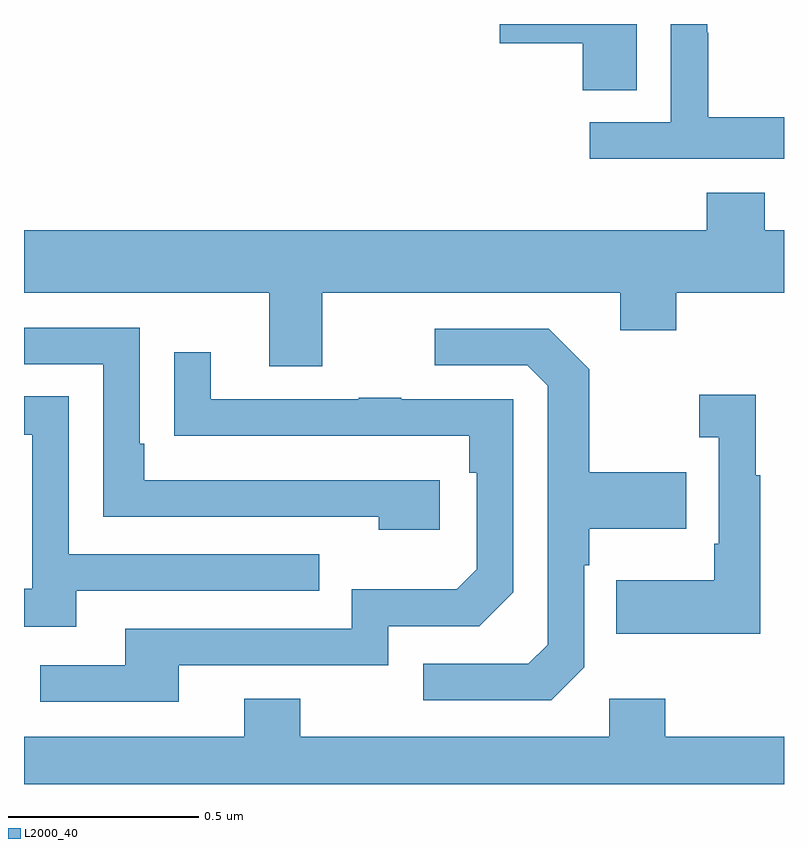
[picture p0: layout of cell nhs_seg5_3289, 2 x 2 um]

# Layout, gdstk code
import gdstk
lib = gdstk.Library(unit=1e-6, precision=1e-09)
def P(c, l, *ps):  # polygons
    for p in ps: c.add(gdstk.Polygon(p, *l))
L2000_40 = (2000, 40)

nhs_seg5_3289 = lib.new_cell('nhs_seg5_3289')
P(nhs_seg5_3289, L2000_40, [(157,858.553),(156.801,858.553),(156.801,858.776),(156.798,858.776),(156.798,858.799),(156.702,858.799),(156.702,858.54),(156.489,858.54),(156.489,858.444),(157,858.444)],
  [(156.613,858.799),(156.252,858.799),(156.252,858.749),(156.47,858.749),(156.47,858.625),(156.613,858.625)],
  [(156.797,858.355),(156.797,858.256),(155,858.256),(155,858.092),(155.645,858.092),(155.645,857.898),(155.785,857.898),(155.785,858.092),(156.569,858.092),(156.569,857.993),(156.717,857.993),(156.717,858.092),(157,858.092),(157,858.256),(156.949,858.256),(156.949,858.355)],
  [(156.094,857.598),(155.317,857.598),(155.317,857.695),(155.304,857.695),(155.304,858),(155,858),(155,857.904),(155.208,857.904),(155.208,857.502),(155.933,857.502),(155.933,857.468),(156.094,857.468)],
  [(156.474,857.106),(156.474,857.375),(156.487,857.375),(156.487,857.471),(156.743,857.471),(156.743,857.619),(156.487,857.619),(156.487,857.891),(156.381,857.997),(156.081,857.997),(156.081,857.901),(156.324,857.901),(156.378,857.847),(156.378,857.166),(156.327,857.115),(156.051,857.115),(156.051,857.019),(156.387,857.019)],
  [(155.407,857.112),(155.958,857.112),(155.958,857.214),(156.198,857.214),(156.288,857.304),(156.288,857.811),(155.993,857.811),(155.993,857.816),(155.881,857.816),(155.881,857.811),(155.491,857.811),(155.491,857.935),(155.395,857.935),(155.395,857.716),(155.497,857.716),(155.497,857.715),(156.172,857.715),(156.172,857.618),(156.192,857.618),(156.192,857.364),(156.139,857.311),(155.862,857.311),(155.862,857.208),(155.267,857.208),(155.267,857.112),(155.043,857.112),(155.043,857.016),(155.407,857.016)],
  [(156.937,857.611),(156.925,857.611),(156.925,857.824),(156.777,857.824),(156.777,857.711),(156.828,857.711),(156.828,857.431),(156.816,857.431),(156.816,857.335),(156.559,857.335),(156.559,857.195),(156.937,857.195)],
  [(155.137,857.307),(155.777,857.307),(155.777,857.403),(155.118,857.403),(155.118,857.819),(155,857.819),(155,857.718),(155.022,857.718),(155.022,857.313),(155,857.313),(155,857.213),(155.137,857.213)],
  [(157,856.924),(156.687,856.924),(156.687,857.023),(156.54,857.023),(156.54,856.924),(155.727,856.924),(155.727,857.023),(155.579,857.023),(155.579,856.924),(155,856.924),(155,856.799),(157,856.799)])

lib.write_gds('nhs_seg5_3289.gds')
